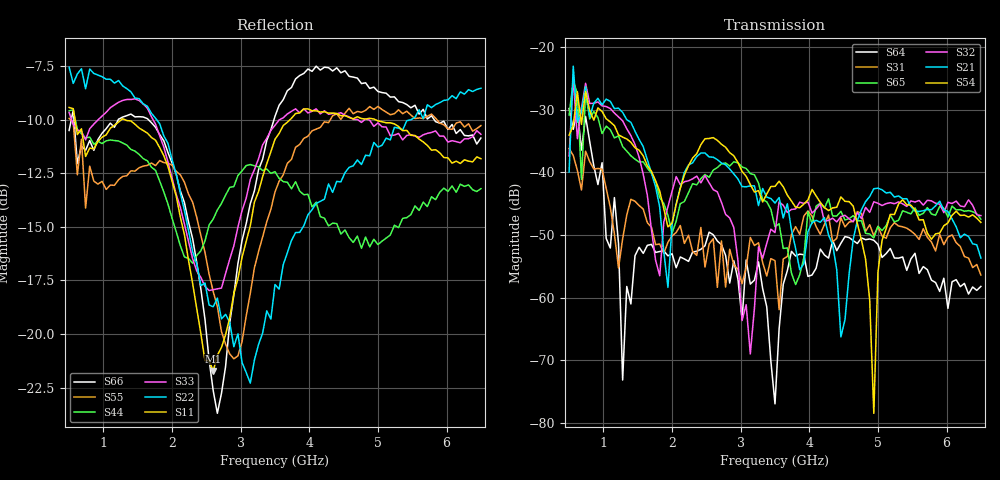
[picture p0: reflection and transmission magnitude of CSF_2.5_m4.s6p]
!Keysight Technologies,M9804A,MY58100912,A.14.10.03
!Date: Thursday, April 27, 2023 10:28:33
!Correction: S11(C  6-Port  )
!S12(C  6-Port  )
!S13(C  6-Port  )
!S14(C  6-Port  )
!S15(C  6-Port  )
!S16(C  6-Port  )
!S21(C  6-Port  )
!S22(C  6-Port  )
!S23(C  6-Port  )
!S24(C  6-Port  )
!S25(C  6-Port  )
!S26(C  6-Port  )
!S31(C  6-Port  )
!S32(C  6-Port  )
!S33(C  6-Port  )
!S34(C  6-Port  )
!S35(C  6-Port  )
!S36(C  6-Port  )
!S41(C  6-Port  )
!S42(C  6-Port  )
!S43(C  6-Port  )
!S44(C  6-Port  )
!S45(C  6-Port  )
!S46(C  6-Port  )
!S51(C  6-Port  )
!S52(C  6-Port  )
!S53(C  6-Port  )
!S54(C  6-Port  )
!S55(C  6-Port  )
!S56(C  6-Port  )
!S61(C  6-Port  )
!S62(C  6-Port  )
!S63(C  6-Port  )
!S64(C  6-Port  )
!S65(C  6-Port  )
!S66(C  6-Port  )
!S6P File: Measurement: :
# Hz S  RI  R 50
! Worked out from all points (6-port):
!   101 points, 500 MHz to 6.5 GHz, reference 50 ohm
!   strongest paths, dB at 500 MHz, 2 GHz, 3.5 GHz, 5 GHz, 6.5 GHz:
!     S54: -34.1, -48.1, -42.2, -56.0, -48.0
!     S21: -39.9, -48.4, -44.9, -42.5, -53.7
!     S32: -37.4, -43.0, -49.6, -44.9, -46.9
!     S65: -30.8, -49.7, -48.7, -48.6, -47.5
!     S31: -36.2, -50.2, -54.1, -48.7, -56.4
!     S64: -29.8, -53.0, -77.0, -51.5, -58.2
!   lowest |S11| = -21.7 dB at 2.6 GHz (marker M1), VSWR 1.18, Z = 42.7 + j1.95 ohm
!   |S11| at or under -10 dB: 585.8 MHz to 1.26 GHz (674 MHz wide, 73 % of centre); 1.317 GHz to 3.716 GHz (2.399 GHz wide, 95.3 % of centre); 4.967 GHz to end of sweep
